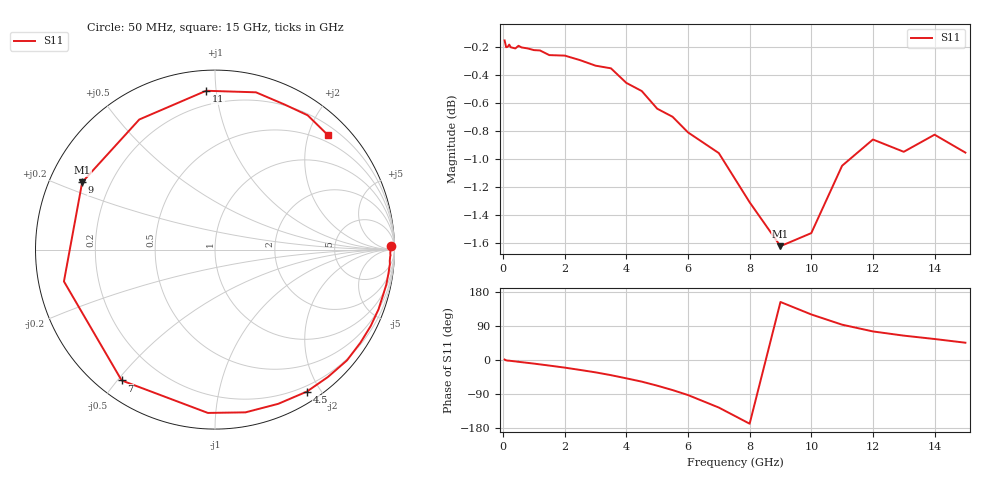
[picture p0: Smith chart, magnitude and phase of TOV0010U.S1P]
! SIEMENS Small Signal Semiconductors
! BAT15-03W
! Si Schottky Diode in SOD323
! IF = 0.01 mA
! S-Parameters:  May  1996
# GHz  S  MA  R  50
!  f  S11
! GHz  MAG  ANG
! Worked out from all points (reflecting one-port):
!   31 points, 50 MHz to 15 GHz, reference 50 ohm
!   lowest |S11| = -1.6 dB at 9 GHz (marker M1), VSWR 10.75, Z = 4.92 + j11.8 ohm
!   phase of S11 starts at 1 deg and turns -316 deg over the sweep
!   S11 on the Smith chart (normalised r, x): 50 MHz: 47, +55; 4.5 GHz: 0.13, -1.83; 7 GHz: 0.07, -0.51; 9 GHz: 0.10, +0.24; 11 GHz: 0.11, +0.94; 15 GHz: 0.36, +2.33
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0.05  0.9821 1.2
0.1  0.9767 -0.9
0.15  0.977 -1.6
0.2  0.9788 -1.8
0.25  0.9767 -2.3
0.4  0.9757 -3.7
0.5  0.9778 -4.8
1  0.9744 -9.5
1.2  0.9741 -11.6
1.5  0.9704 -14.7
2  0.97 -20.1
2.5  0.9664 -26.2
3  0.962 -32.6
3.5  0.9599 -40.0
4  0.9485 -48.4
4.5  0.9422 -57.1
5  0.9287 -67.7
5.5  0.9226 -79.4
6  0.9108 -92.5
7  0.8955 -125.5
8  0.8601 -168.1
9  0.8297 153.1
10  0.8387 120.2
11  0.8863 93.2
12  0.9055 75.4
13  0.8965 64.3
14  0.9091 55.4
15  0.8959 45.6
